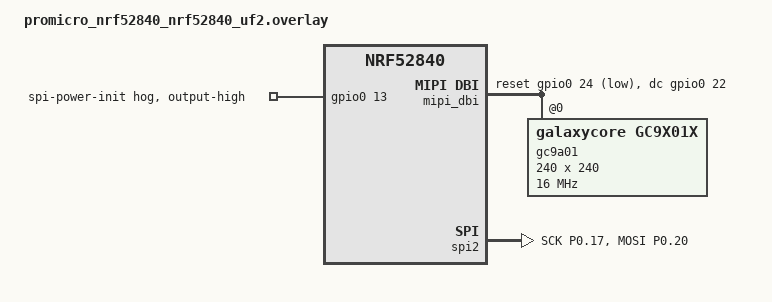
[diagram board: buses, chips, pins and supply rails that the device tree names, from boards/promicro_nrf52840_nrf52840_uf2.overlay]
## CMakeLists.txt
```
cmake_minimum_required(VERSION 3.20.0)

find_package(Zephyr REQUIRED HINTS $ENV{ZEPHYR_BASE})
project(app_gauge_v1)

target_sources(app PRIVATE src/main.c)
set(LVGL_DIR ${ZEPHYR_LVGL_MODULE_DIR})

FILE(GLOB app_sources src/*.c)
target_sources(app PRIVATE ${app_sources})
```

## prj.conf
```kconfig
CONFIG_GPIO=y
CONFIG_MAIN_STACK_SIZE=2048
CONFIG_LOG=y

CONFIG_SPI=y
CONFIG_LOG_MODE_IMMEDIATE=y
CONFIG_MAIN_STACK_SIZE=4096

CONFIG_DISPLAY=y
CONFIG_GC9X01X=y

CONFIG_LVGL=y
CONFIG_LV_Z_MEM_POOL_SIZE=65536

CONFIG_LV_USE_SCALE=y
CONFIG_LV_BUILD_EXAMPLES=y
CONFIG_LV_FONT_MONTSERRAT_40=y
CONFIG_LV_FONT_MONTSERRAT_18=y
```

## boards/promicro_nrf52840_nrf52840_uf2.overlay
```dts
#include <zephyr/dt-bindings/gpio/gpio.h>
#include <zephyr/dt-bindings/display/panel.h>
#include <zephyr/dt-bindings/mipi_dbi/mipi_dbi.h>

/ {
    chosen {
        zephyr,display = &gc9a01;
    };
    
    mipi_dbi {
        compatible = "zephyr,mipi-dbi-spi";
        dc-gpios = <&gpio0 22 GPIO_ACTIVE_HIGH>;
        reset-gpios = <&gpio0 24 GPIO_ACTIVE_LOW>;
        spi-dev = <&spi2>;
        #address-cells = <1>;
        #size-cells = <0>;

        gc9a01: gc9a01@0 {
            compatible = "galaxycore,gc9x01x";
            reg = <0>;
            mipi-max-frequency = <16000000>;
            pixel-format = <PANEL_PIXEL_FORMAT_RGB_565>;
            width = <240>;
            height = <240>;
            display-inversion;
        };
    };
};

&pinctrl {
    spi2_default: spi2_default {
        group1 {
            psels = <NRF_PSEL(SPIM_SCK, 0, 17)>,
                    <NRF_PSEL(SPIM_MOSI, 0, 20)>;
        };
    };

    spi2_sleep: spi2_sleep {
        group1 {
            psels = <NRF_PSEL(SPIM_SCK, 0, 17)>,
                    <NRF_PSEL(SPIM_MOSI, 0, 20)>;
                    low-power-enable;
        };
    };
};

&spi2 {
    status = "okay";
    pinctrl-0 = <&spi2_default>;
    pinctrl-1 = <&spi2_sleep>;
    pinctrl-names = "default", "sleep";
    cs-gpios = <&gpio0 2 GPIO_ACTIVE_LOW>;
};

&gpio0 {
	status = "okay";
	spi-power-init {
		gpio-hog;
		gpios = <13 GPIO_ACTIVE_HIGH>;
		output-high;
	};
};
```

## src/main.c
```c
#include <zephyr/kernel.h>
#include <zephyr/drivers/display.h>
#include <zephyr/drivers/gpio.h>
#include <lvgl.h>
#include <lvgl_mem.h>
#include <zephyr/logging/log.h>
// #include "../mods/gaugev1.c"
#include "../mods/gaugeoptimized.c"

LOG_MODULE_REGISTER(main, LOG_LEVEL_DBG);

int main(void) {
    const struct device *display = DEVICE_DT_GET(DT_CHOSEN(zephyr_display));

    if (!device_is_ready(display)) {
        LOG_ERR("Display not ready");
        return 1;
    }

    // Turn on the backlight if needed (optional)
    display_blanking_off(display);

    // lv_example_scale_10();
    lv_example_scale_optimized();

    LOG_INF("Display initialized and text set.");

    while (1) {
        lv_timer_handler();
    }
    return 0;
}
```
